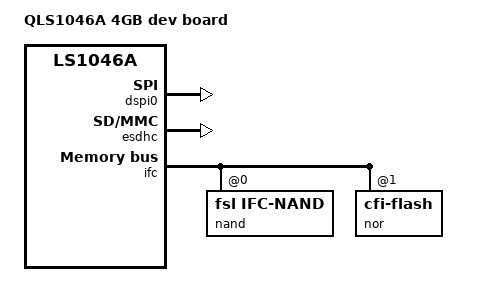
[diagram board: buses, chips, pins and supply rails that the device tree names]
// SPDX-License-Identifier: GPL-2.0+ OR X11
/*
 * Copyright 2020 Scalys
 *
 */

/dts-v1/;
/include/ "fsl-ls1046a.dtsi"

/ {
	model = "QLS1046A 4GB dev board";

	aliases {
		spi1 = &dspi0;
	};
};

&dspi0 {
	status = "okay";
};

&usb2 {
	status = "disabled";
};

&esdhc {
	max-frequency = <25000000>;
	status = "okay";
};

&ifc {
	#address-cells = <2>;
	#size-cells = <1>;
	ranges = <0x0 0x0 0x0 0x7e800000 0x00010000
		  0x1 0x0 0x0 0x60000000 0x02000000>;
	status = "okay";
	
	nand@0,0 {
		compatible = "fsl,ifc-nand";
		#address-cells = <1>;
		#size-cells = <1>;
		reg = <0x0 0x0 0x10000>;
	};

	nor@1,0 {
		#address-cells = <1>;
		#size-cells = <1>;
		compatible = "cfi-flash";
		reg = <0x1 0x0 0x2000000>;
		bank-width = <1>;
		device-width = <1>;
	};

};
